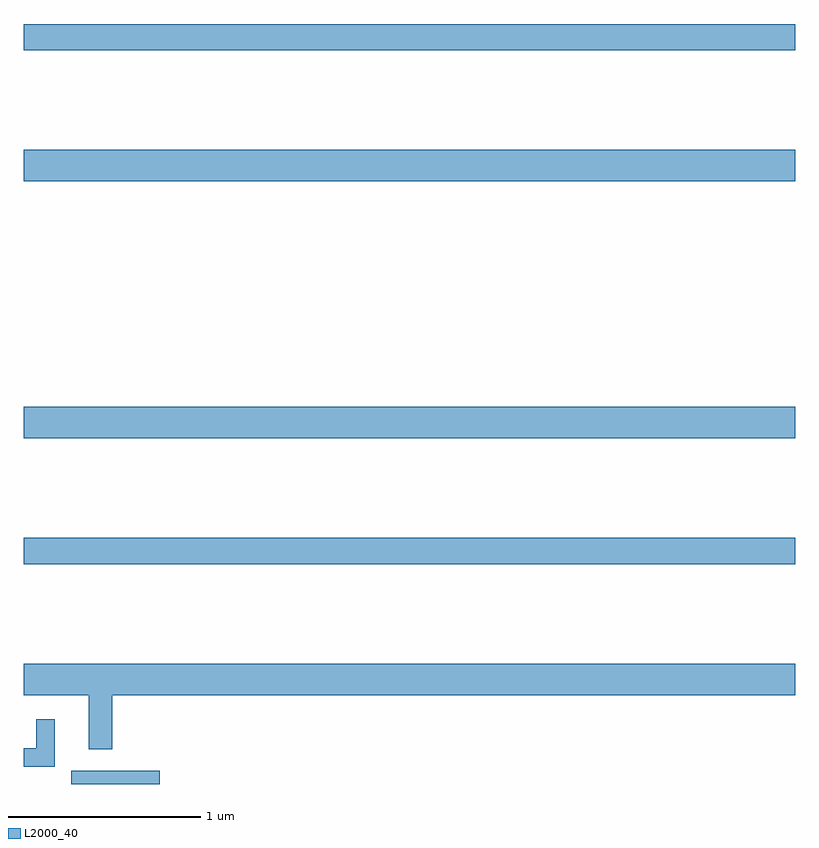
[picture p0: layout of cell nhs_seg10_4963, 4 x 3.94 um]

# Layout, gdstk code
import gdstk
lib = gdstk.Library(unit=1e-6, precision=1e-09)
def R(c, l, rs):  # rectangles x0, y0, x1, y1
    for r in rs: c.add(gdstk.rectangle(r[:2], r[2:], *l))
def P(c, l, *ps):  # polygons
    for p in ps: c.add(gdstk.Polygon(p, *l))
L2000_40 = (2000, 40)

nhs_seg10_4963 = lib.new_cell('nhs_seg10_4963')
R(nhs_seg10_4963, L2000_40, [(397.247,1322.5,397.705,1322.568), (397,1323.64,401,1323.776), (397,1324.292,401,1324.456), (397,1325.624,401,1325.788), (397,1326.304,401,1326.44)])
P(nhs_seg10_4963, L2000_40, [(397.459,1322.96),(401,1322.96),(401,1323.124),(397,1323.124),(397,1322.96),(397.337,1322.96),(397.337,1322.679),(397.459,1322.679)],
  [(397.162,1322.836),(397.064,1322.836),(397.064,1322.685),(397,1322.685),(397,1322.589),(397.162,1322.589)])

lib.write_gds('nhs_seg10_4963.gds')
